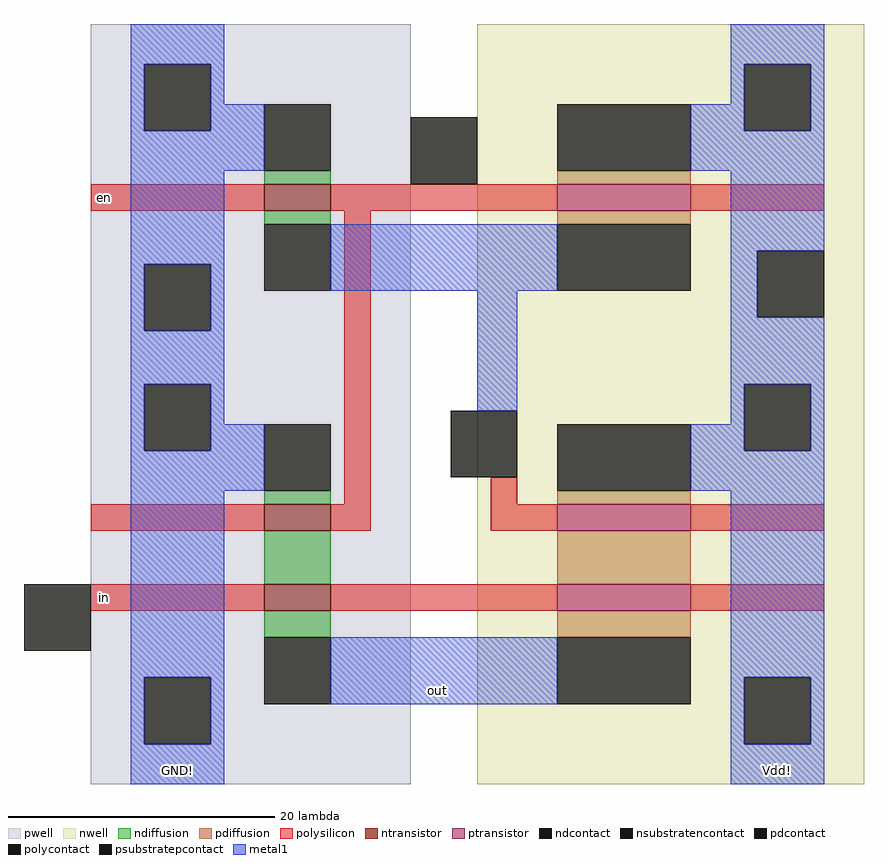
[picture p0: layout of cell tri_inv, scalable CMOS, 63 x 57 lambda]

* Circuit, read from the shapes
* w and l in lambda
.subckt tri_inv GND! Vdd! en in out
M1 n1 in out GND! nfet w=5 l=2
M2 GND! en n1 GND! nfet w=5 l=2
M3 GND! en n2 GND! nfet w=5 l=2
M4 n3 in out Vdd! pfet w=10 l=2
M5 Vdd! n2 n3 Vdd! pfet w=10 l=2
M6 Vdd! en n2 Vdd! pfet w=10 l=2
.ends

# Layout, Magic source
magic
tech scmos
<< nwell >>
rect 14 -20 43 13
<< pwell >>
rect -15 -20 9 13
<< ntransistor >>
rect -2 -1 3 1
rect -2 -7 3 -5
<< ptransistor >>
rect 20 -1 30 1
rect 20 -7 30 -5
<< ndiffusion >>
rect -2 1 3 2
rect -2 -5 3 -1
rect -2 -9 3 -7
<< pdiffusion >>
rect 20 1 30 2
rect 20 -5 30 -1
rect 20 -9 30 -7
<< ndcontact >>
rect -2 2 3 7
rect -2 -14 3 -9
<< pdcontact >>
rect 20 2 30 7
rect 20 -14 30 -9
<< psubstratepcontact >>
rect -11 5 -6 10
rect -11 -17 -6 -12
<< nsubstratencontact >>
rect 34 5 39 10
rect 34 -17 39 -12
<< polysilicon >>
rect -15 23 -12 25
rect 4 1 6 23
rect -15 -1 -2 1
rect 3 -1 6 1
rect 15 1 17 3
rect 15 -1 20 1
rect 30 -1 40 1
rect -15 -7 -2 -5
rect 3 -7 20 -5
rect 30 -7 40 -5
<< polycontact >>
rect 12 3 17 8
rect -20 -10 -15 -5
<< metal1 >>
rect -12 10 -5 13
rect -12 5 -11 10
rect -6 7 -5 10
rect 14 8 17 18
rect -6 5 -2 7
rect -12 2 -2 5
rect 33 10 40 13
rect 33 7 34 10
rect 30 5 34 7
rect 39 5 40 10
rect 30 2 40 5
rect -12 -12 -5 2
rect -12 -17 -11 -12
rect -6 -17 -5 -12
rect 3 -14 20 -9
rect 33 -12 40 2
rect -12 -20 -5 -17
rect 33 -17 34 -12
rect 39 -17 40 -12
rect 33 -20 40 -17
use new_inv  new_inv_0
transform 1 0 -92 0 1 7
box 77 4 135 30
<< labels >>
rlabel metal1 34 -19 39 -19 1 Vdd!
rlabel metal1 -11 -19 -6 -19 1 GND!
rlabel polysilicon -14 24 -14 24 1 en
rlabel polysilicon -14 -6 -14 -6 1 in
rlabel metal1 11 -13 11 -13 1 out
<< end >>

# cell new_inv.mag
magic
tech scmos
<< nwell >>
rect 106 4 135 30
<< pwell >>
rect 77 4 101 30
<< ntransistor >>
rect 90 16 95 18
<< ptransistor >>
rect 112 16 122 18
<< ndiffusion >>
rect 90 18 95 19
rect 90 15 95 16
<< pdiffusion >>
rect 112 18 122 19
rect 112 15 122 16
<< ndcontact >>
rect 90 19 95 24
rect 90 10 95 15
<< pdcontact >>
rect 112 19 122 24
rect 112 10 122 15
<< psubstratepcontact >>
rect 81 22 86 27
rect 81 7 86 12
<< nsubstratencontact >>
rect 126 22 131 27
rect 127 8 132 13
<< polysilicon >>
rect 77 16 90 18
rect 95 16 112 18
rect 122 16 132 18
<< polycontact >>
rect 101 18 106 23
<< metal1 >>
rect 80 27 87 30
rect 80 22 81 27
rect 86 24 87 27
rect 125 27 132 30
rect 125 24 126 27
rect 86 22 90 24
rect 80 19 90 22
rect 80 12 87 19
rect 122 22 126 24
rect 131 22 132 27
rect 122 19 132 22
rect 80 7 81 12
rect 86 7 87 12
rect 95 10 112 15
rect 125 13 132 19
rect 80 4 87 7
rect 125 8 127 13
rect 125 4 132 8
<< labels >>
rlabel metal1 126 5 131 5 1 Vdd!
rlabel metal1 81 5 86 5 1 GND!
<< end >>
